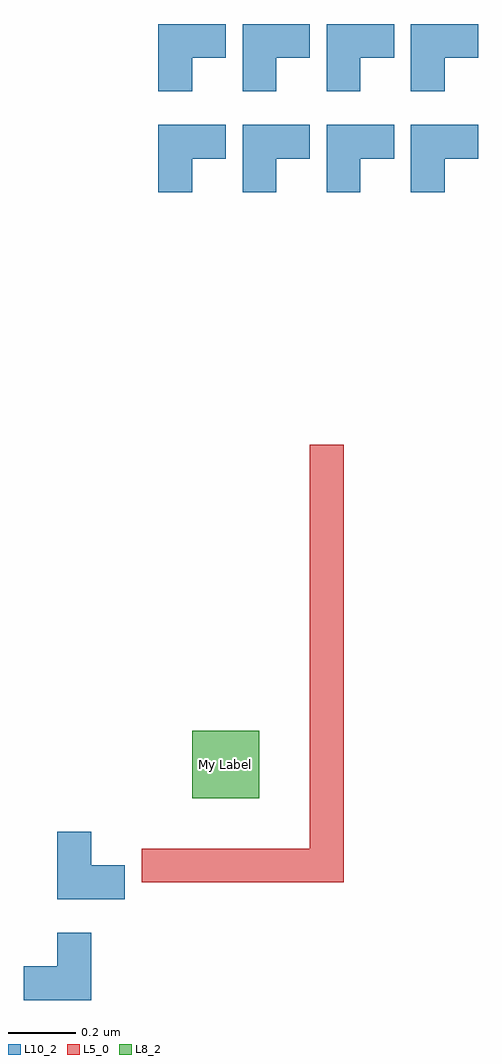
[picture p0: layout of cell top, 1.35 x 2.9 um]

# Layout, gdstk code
from math import pi, radians
import gdstk
lib = gdstk.Library(unit=1e-6, precision=1e-09)
def R(c, l, rs):  # rectangles x0, y0, x1, y1
    for r in rs: c.add(gdstk.rectangle(r[:2], r[2:], *l))
def P(c, l, *ps):  # polygons
    for p in ps: c.add(gdstk.Polygon(p, *l))
L5_0 = (5, 0)
L8_2 = (8, 2)
L10_2 = (10, 2)

sub = lib.new_cell('sub')
P(sub, L10_2, [(0.2,0),(0.2,0.2),(0.1,0.2),(0.1,0.1),(0,0.1),(0,0)])

sub2 = lib.new_cell('sub2')
P(sub2, L10_2, [(0.1,0),(0.1,0.1),(0.2,0.1),(0.2,0.2),(0,0.2),(0,0)])

top = lib.new_cell('top')
R(top, L8_2, [(0.1,0.2,0.3,0.4)])
top.add(gdstk.FlexPath([(0,0),(0.5,0),(0.5,0.5),(0.5,1.2)], 0.1, ends="extended", simple_path=True, layer=5, datatype=0))  # L5_0
top.add(gdstk.Reference(sub, (-0.1,-0.1), rotation=pi, x_reflection=True))
top.add(gdstk.Reference(sub, (-0.4,-0.4)))
r = gdstk.Reference(sub2, (0,2)); r.repetition = gdstk.Repetition(4, 2, v1=(0.25,0), v2=(0,0.3)); top.add(r)
top.add(gdstk.Label('My Label', (0.2,0.3), layer=8, texttype=25))

lib.write_gds('top.gds')
